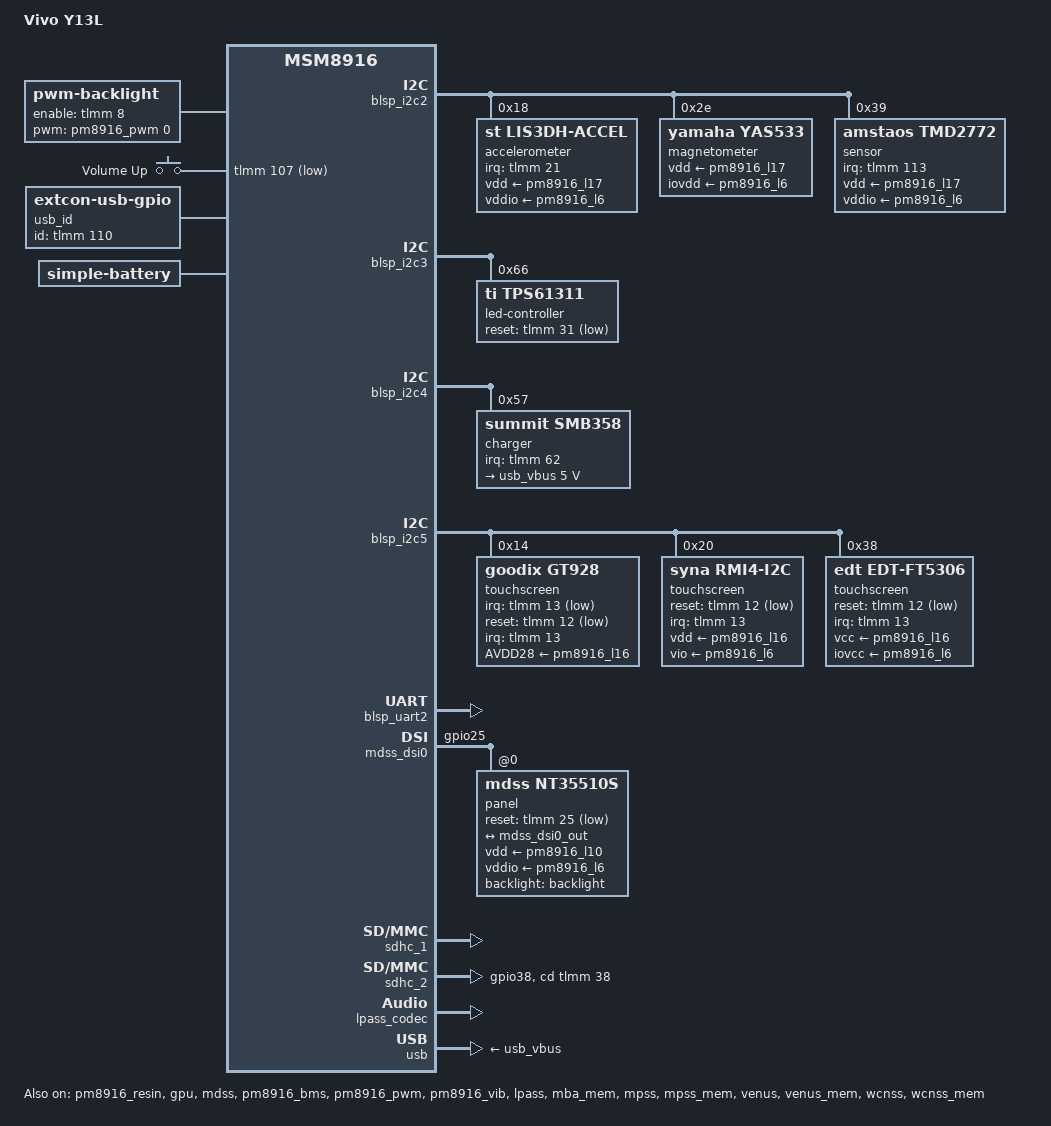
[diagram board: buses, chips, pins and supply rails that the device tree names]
// SPDX-License-Identifier: GPL-2.0-only

/dts-v1/;

#include "msm8916-pm8916.dtsi"
#include "msm8916-modem-qdsp6.dtsi"

#include <dt-bindings/gpio/gpio.h>
#include <dt-bindings/input/linux-event-codes.h>
#include <dt-bindings/input/input.h>
#include <dt-bindings/interrupt-controller/irq.h>
#include <dt-bindings/leds/common.h>
#include <dt-bindings/pinctrl/qcom,pmic-gpio.h>
#include <dt-bindings/pinctrl/qcom,pmic-mpp.h>
#include <dt-bindings/power/summit,smb347-charger.h>
#include <dt-bindings/sound/apq8016-lpass.h>
#include <dt-bindings/sound/qcom,lpass.h>

/ {
	model = "Vivo Y13L";
	compatible = "vivo,pd1304cl", "qcom,msm8916";
	chassis-type = "handset";

	aliases {
		mmc0 = &sdhc_1; /* eMMC */
		mmc1 = &sdhc_2; /* SD card */
		serial0 = &blsp_uart2;
	};

	backlight: backlight {
		compatible = "pwm-backlight";
		pwms = <&pm8916_pwm 0 100000>;

		brightness-levels = <0 255>;
		num-interpolated-steps = <255>;
		default-brightness-level = <64>;

		pinctrl-names = "default";
		pinctrl-0 = <&lcd_bl_en_default>;
		enable-gpios = <&tlmm 8 GPIO_ACTIVE_HIGH>;
		post-pwm-on-delay-ms = <10>;
		pwm-off-delay-ms = <10>;
	};

	gpio-keys {
		compatible = "gpio-keys";

		pinctrl-names = "default";
		pinctrl-0 = <&gpio_keys_default>;

		label = "GPIO Buttons";

		button-volume-up {
			label = "Volume Up";
			gpios = <&tlmm 107 GPIO_ACTIVE_LOW>;
			linux,code = <KEY_VOLUMEUP>;
			debounce-interval = <15>;
		};
	};

	usb_id: usb-id {
		compatible = "linux,extcon-usb-gpio";
		id-gpios = <&tlmm 110 GPIO_ACTIVE_HIGH>;
		pinctrl-names = "default";
		pinctrl-0 = <&usb_id_default>;
	};

	battery: battery-cell {
		compatible = "simple-battery";
		over-voltage-threshold-microvolt = <4350000>;
		re-charge-voltage-microvolt = <3400000>;
		voltage-min-design-microvolt = <3450000>;
		voltage-max-design-microvolt = <4300000>;

		precharge-current-microamp = <200000>;
		precharge-upper-limit-microvolt = <3000000>;
		constant-charge-current-max-microamp = <1800000>;
		constant-charge-voltage-max-microvolt = <4250000>;
		trickle-charge-current-microamp = <0>;

		energy-full-design-microwatt-hours = <7600000>;
		charge-full-design-microamp-hours = <2000000>;

		ocv-capacity-celsius = <25>;
		ocv-capacity-table-0 = <4300000 100>, <4250000 95>, <4204000 90>,
			<4152000 85>, <4102000 80>, <4060000 75>, <3998000 70>,
			<3964000 65>, <3924000 60>, <3874000 55>, <3842000 50>,
			<3820000 45>, <3800000 40>, <3785000 35>, <3765000 30>,
			<3758000 25>, <3735000 20>, <3706000 16>, <3690000 13>,
			<3687000 11>, <3686000 10>, <3684000 9>, <3680000 8>,
			<3668000 7>, <3640000 6>, <3596000 5>, <3542000 4>,
			<3472000 3>, <3378000 2>, <3239000 1>, <3000000 0>;
	};
};

&blsp_i2c2 {
	status = "okay";

	accelerometer@18 {
		compatible = "st,lis3dh-accel";
		reg = <0x18>;
		vdd-supply = <&pm8916_l17>;
		vddio-supply = <&pm8916_l6>;
		interrupts-extended = <&tlmm 21 IRQ_TYPE_EDGE_RISING>;
	};

	magnetometer@2e {
		compatible = "yamaha,yas533";
		reg = <0x2e>;
		vdd-supply = <&pm8916_l17>;
		iovdd-supply = <&pm8916_l6>;
	};

	sensor@39 {
		compatible = "amstaos,tmd2772";
		reg = <0x39>;
		interrupts-extended = <&tlmm 113 IRQ_TYPE_EDGE_FALLING>;
		pinctrl-names = "default";
		pinctrl-0 = <&sensor_int_default>;
		vdd-supply = <&pm8916_l17>;
		vddio-supply = <&pm8916_l6>;
		led-max-microamp = <13000>;
	};
};

&blsp_i2c3 {
	status = "okay";

	led-controller@66 {
		compatible = "ti,tps61311", "ti,tps61310";
		reg = <0x66>;

		reset-gpios = <&tlmm 31 GPIO_ACTIVE_LOW>;

		led {
			function = LED_FUNCTION_FLASH;
			color = <LED_COLOR_ID_WHITE>;
			led-sources = <1>, <2>, <3>;
			led-max-microamp = <25000>; //25mA
			flash-max-microamp = <25000>;
			flash-max-timeout-us = <5300>; //5.3ms
		};
	};
};

&blsp_i2c4 {
	status = "okay";

	charger: charger@57 {
		compatible = "summit,smb358";
		reg = <0x57>;

		interrupt-parent = <&tlmm>;
		interrupts = <62 IRQ_TYPE_LEVEL_LOW>;

		pinctrl-names = "default";
		pinctrl-0 = <&smb_int_default>;

		summit,enable-charge-control = <SMB3XX_CHG_ENABLE_SW>;
		summit,inok-polarity = <SMB3XX_SYSOK_INOK_ACTIVE_LOW>;
		summit,fast-voltage-threshold-microvolt = <3000000>;
		summit,chip-temperature-threshold-celsius = <100>;
		summit,usb-current-limit-microamp = <500000>;
		summit,charge-current-compensation-microamp = <200000>;
		summit,enable-usb-charging;
		summit,enable-otg-charging;

		monitored-battery = <&battery>;

		usb_vbus: usb-vbus {
			regulator-name = "usb_vbus";
			regulator-min-microvolt = <5000000>;
			regulator-max-microvolt = <5000000>;
			regulator-min-microamp = <750000>;
			regulator-max-microamp = <750000>;
			summit,needs-inok-toggle;
		};
	};
};

&blsp_i2c5 {
	status = "okay";

	touchscreen@14 { //gt9xx
		compatible = "goodix,gt928";
		reg = <0x14>;

		pinctrl-0 = <&ts_int_default>, <&ts_rst_default>;
		pinctrl-names = "default";
		interrupt-parent = <&tlmm>;
		interrupts = <13 IRQ_TYPE_LEVEL_LOW>;
		irq-gpios = <&tlmm 13 GPIO_ACTIVE_LOW>;
		reset-gpios = <&tlmm 12 GPIO_ACTIVE_LOW>;

		AVDD28-supply = <&pm8916_l16>;
		touchscreen-size-x = <480>;
		touchscreen-size-y = <854>;
	};

	touchscreen@20 {
		compatible = "syna,rmi4-i2c";
		reg = <0x20>;

		pinctrl-0 = <&ts_int_default>, <&ts_rst_default>;
		pinctrl-names = "default";
		interrupt-parent = <&tlmm>;
		interrupts = <13 IRQ_TYPE_EDGE_FALLING>;
		reset-gpios = <&tlmm 12 GPIO_ACTIVE_LOW>;

		syna,startup-delay-ms = <100>;
		vdd-supply = <&pm8916_l16>;
		vio-supply = <&pm8916_l6>;

		#address-cells = <1>;
		#size-cells = <0>;

		rmi4-f01@1 {
			reg = <0x1>;
			syna,nosleep-mode = <1>;
		};

		rmi4-f12@12 {
			reg = <0x12>;
			syna,sensor-type = <1>;
		};

		rmi4-f1a@1a {
			reg = <0x1a>;
			linux,keycodes = <KEY_BACK KEY_HOME KEY_MENU>;
		};
	};

	touchscreen@38 {
		compatible = "edt,edt-ft5306";
		reg = <0x38>;

		pinctrl-0 = <&ts_int_default>, <&ts_rst_default>;
		pinctrl-names = "default";
		interrupt-parent = <&tlmm>;
		interrupts = <13 IRQ_TYPE_EDGE_FALLING>;
		reset-gpios = <&tlmm 12 GPIO_ACTIVE_LOW>;

		vcc-supply = <&pm8916_l16>;
		iovcc-supply = <&pm8916_l6>;
	};
};

&blsp_uart2 {
	status = "okay";
	pinctrl-0 = <&blsp_uart2_console_default>;
	pinctrl-1 = <&blsp_uart2_console_sleep>;
	pinctrl-names = "default", "sleep";
};

&pm8916_resin {
	linux,code = <KEY_VOLUMEDOWN>;
	status = "okay";
};

&gpu {
	status = "okay";
};

&mdss {
	status = "okay";
};

&mdss_dsi0 {
	pinctrl-0 = <&mdss_default>;
	pinctrl-1 = <&mdss_sleep>;
	pinctrl-names = "default", "sleep";

	panel@0 {
		compatible = "mdss,nt35510s";
		reg = <0>;

		backlight = <&backlight>;
		vdd-supply = <&pm8916_l10>;
		vddio-supply = <&pm8916_l6>;

		reset-gpios = <&tlmm 25 GPIO_ACTIVE_LOW>;

		port {
			panel_in: endpoint {
				remote-endpoint = <&mdss_dsi0_out>;
			};
		};
	};
};

&mdss_dsi0_out {
	data-lanes = <0 1>;
	remote-endpoint = <&panel_in>;
};

&mdss_dsi0_phy {
	qcom,dsi-phy-regulator-ldo-mode;
};

&pm8916_bms {
	monitored-battery = <&battery>;
	status = "okay";
};

&pm8916_pwm {
	status = "okay";
	pinctrl-names = "default";
	pinctrl-0 = <&pwm_out>;
};

&pm8916_rpm_regulators {
	pm8916_l10: l10 {
		regulator-min-microvolt = <2700000>;
		regulator-max-microvolt = <2800000>;
	};

	pm8916_l16: l16 {
		regulator-min-microvolt = <2850000>;
		regulator-max-microvolt = <2850000>;
	};

	pm8916_l17: l17 {
		regulator-min-microvolt = <2850000>;
		regulator-max-microvolt = <2850000>;
	};
};

&pm8916_vib {
	status = "okay";
};

&sdhc_1 {
	status = "okay";
};

&sdhc_2 {
	status = "okay";

	pinctrl-names = "default", "sleep";
	pinctrl-0 = <&sdc2_default &sdc2_cd_default>;
	pinctrl-1 = <&sdc2_sleep &sdc2_cd_default>;
	cd-gpios = <&tlmm 38 GPIO_ACTIVE_HIGH>;
};

&lpass {
	status = "okay";
};

&lpass_codec {
	status = "okay";
};

&mba_mem {
	status = "okay";
};

&mpss {
	status = "okay";

	firmware-name = "qcom/apq8016/mba.mbn", "qcom/apq8016/modem.mbn";
};

&mpss_mem {
	status = "okay";
	reg = <0x0 0x86800000 0x0 0x2b00000>;
};

&usb {
	status = "okay";
	extcon = <&usb_id>, <&usb_id>;
	vbus-supply = <&usb_vbus>;
};

&usb_hs_phy {
	extcon = <&usb_id>;
};

&venus {
	status = "okay";
};

&venus_mem {
	status = "okay";
};

&wcnss {
	status = "okay";
};

&wcnss_iris {
	compatible = "qcom,wcn3620";
};

&wcnss_mem {
	status = "okay";
};

&tlmm {
	gpio_keys_default: gpio-keys-default-state {
		pins = "gpio107", "gpio117";
		function = "gpio";

		drive-strength = <2>;
		bias-pull-up;
	};

	mdss_default: mdss-default-state {
		pins = "gpio25";
		function = "gpio";
		drive-strength = <8>;
		bias-disable = <0>;
	};

	mdss_sleep: mdss-sleep-state {
		pins = "gpio25";
		function = "gpio";
		drive-strength = <2>;
		bias-pull-down;
	};

	lcd_bl_en_default: lcd-bl-en-default-state {
		pins = "gpio8";
		function = "gpio";

		drive-strength = <2>;
		bias-disable;
	};

	sensor_int_default: sensor-int-default-state {
		pins = "gpio113";
		function = "gpio";

		drive-strength = <2>;
		bias-disable;
	};

	ts_int_default: ts-int-default-state {
		pins = "gpio13";
		function = "gpio";
		drive-strength = <2>;
		bias-disable;
	};

	ts_rst_default: ts-rst-default-state {
		pins = "gpio12";
		function = "gpio";
		drive-strength = <2>;
		bias-disable;
	};

	sdc2_cd_default: sdc2-cd-default-state {
		pins = "gpio38";
		function = "gpio";
		drive-strength = <2>;
		bias-disable;
	};

	smb_int_default: smb-int-default-state {
		pins = "gpio62";
		function = "gpio";

		drive-strength = <2>;
		bias-disable;
	};

	usb_id_default: usb-id-default-state {
		pins = "gpio110";
		function = "gpio";

		drive-strength = <8>;
		bias-pull-up;
	};
};

&pm8916_mpps {
	pwm_out: mpp4-state {
		pins = "mpp4";
		function = "digital";
		power-source = <PM8916_MPP_VPH>;
		output-low;
		qcom,dtest = <1>;
	};
};
